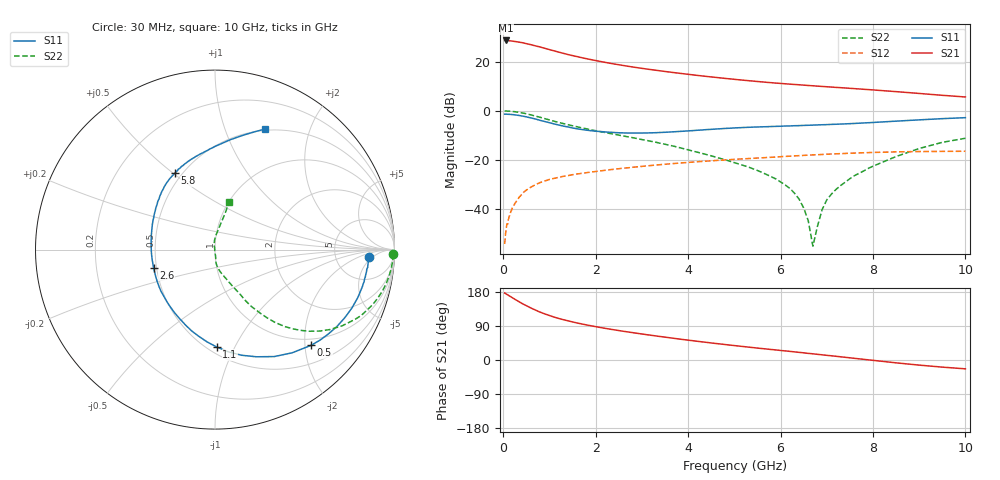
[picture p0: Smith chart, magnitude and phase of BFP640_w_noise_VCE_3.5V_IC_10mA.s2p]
! (c) 2013  Infineon Technologies AG, Munich
! Infineon Technologies  Discrete & RF Semiconductors
! BFP640
! VCE =  3.5 V,  IC =  10 mA
! Common Emitter S-Parameters:  Apr 2013
# GHz  S  MA  R  50
!  f  S11  S21  S12  S22
! GHz  MAG  ANG  MAG  ANG  MAG  ANG  MAG  ANG
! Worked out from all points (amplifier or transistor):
!   99 points, 30 MHz to 10 GHz, reference 50 ohm
!   highest |S21| = 28.5 dB at 50 MHz (marker M1)
!   |S21| within 3 dB of that: start of sweep to 865.3 MHz
!   unconditionally stable (mu >= 1): 3.768 GHz to end of sweep
!   at 350 MHz: K = 0.16, MSG = 31.4 dB, |S12| = -34.9 dB
!   at 3.5 GHz: K = 0.98, MSG = 18.8 dB, |S12| = -21.7 dB
!   at 10 GHz: K = 1.10, MAG = 9.1 dB, |S12| = -16.4 dB
!   lowest NFmin = 0.64 dB at 450 MHz
!   S11 on the Smith chart (normalised r, x): 30 MHz: 12, -4; 500 MHz: 0.86, -2.13; 1.1 GHz: 0.55, -0.85; 2.6 GHz: 0.48, -0.11; 5.8 GHz: 0.46, +0.51; 10 GHz: 0.49, +1.38
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0.03  0.8576 -2.6  26.65 176.7  0.002 70.0  0.9911 -1.5
0.05  0.8569 -4.5  26.75 175.5  0.0032 85.6  0.9929 -2.7
0.14  0.8474 -13.0  26.36 168.6  0.0075 82.5  0.983 -7.9
0.25  0.8294 -23.1  25.53 160.4  0.0131 77.2  0.9605 -14.0
0.4  0.7875 -36.6  24.25 149.7  0.0201 72.8  0.91 -21.9
0.5  0.7556 -44.9  23.04 143.4  0.0247 69.1  0.8715 -26.5
0.6  0.718 -53.2  21.95 137.1  0.0284 65.3  0.8273 -30.8
0.8  0.6406 -68.8  19.71 126.2  0.0352 59.3  0.7389 -37.9
1.1  0.5426 -89.0  16.48 113.3  0.0427 52.6  0.6153 -45.7
1.4  0.4708 -106.2  13.88 103.4  0.0486 48.5  0.5239 -50.6
1.7  0.4186 -122.3  11.96 95.1  0.054 45.6  0.4519 -53.7
2.1  0.3805 -142.0  10.04 85.8  0.0605 42.6  0.3776 -57.3
2.6  0.3567 -163.6  8.3 75.8  0.0686 39.5  0.309 -59.9
3.4  0.3639 166.9  6.467 61.9  0.081 34.4  0.2196 -64.9
4.2  0.4041 144.6  5.233 49.4  0.0927 28.9  0.145 -73.4
5.1  0.4544 127.4  4.266 36.7  0.1051 22.7  0.0835 -84.3
5.8  0.4807 117.8  3.721 27.7  0.1143 18.1  0.0461 -85.2
6.4  0.5013 110.8  3.376 20.2  0.1234 13.7  0.0163 -89.9
6.7  0.5139 106.9  3.222 16.3  0.1276 11.3  0.0018 -139.5
7.1  0.5307 101.4  3.035 11.1  0.1331 7.9  0.0204 100.5
8.5  0.6179 82.1  2.452 -7.5  0.1472 -4.6  0.1184 80.1
10  0.7269 67.5  1.91 -23.3  0.1515 -15.5  0.2779 74.1
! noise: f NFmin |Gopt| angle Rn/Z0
0.45  0.64  0.26  10  0.04
0.9  0.66  0.25  17  0.05
1.5  0.67  0.22  29  0.06
1.9  0.7  0.18  48  0.07
2.4  0.74  0.16  59  0.07
3.5  0.87  0.13  71  0.09
5.5  1.09  0.21  -128  0.1
10  1.66  0.58  -60  0.4
